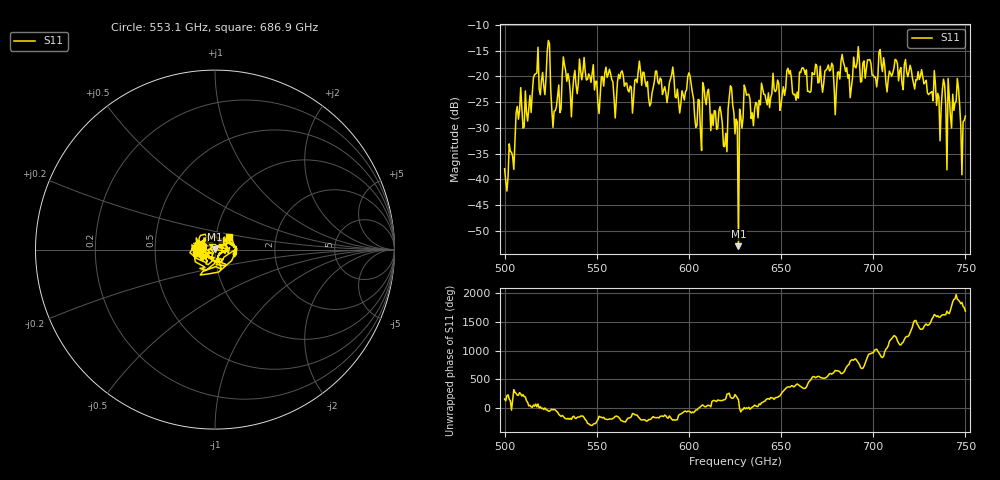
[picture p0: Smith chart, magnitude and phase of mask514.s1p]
!Created with skrf (http://scikit-rf.org).
# GHz S MA R 50.0
!freq magS11 angS11
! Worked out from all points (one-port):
!   401 points, 500 GHz to 750 GHz, reference 50 ohm
!   lowest |S11| = -52.9 dB at 626.9 GHz (marker M1), VSWR 1.00, Z = 49.8 + j0.13 ohm
!   |S11| at or under -10 dB: start of sweep to end of sweep
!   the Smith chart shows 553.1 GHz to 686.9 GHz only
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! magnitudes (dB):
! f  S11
! 500 GHz  -37.9
! 507.5 GHz  -28.3
! 513.1 GHz  -26.1
! 516.9 GHz  -19.5
! 520.6 GHz  -19.2
! 523.8 GHz  -13.0
! 526.9 GHz  -26.7
! 531.2 GHz  -19.7
! 562.5 GHz  -20.4
! 579.4 GHz  -25.2
! 590.6 GHz  -19.7
! 593.8 GHz  -22.5
! 600.6 GHz  -19.9
! 605.6 GHz  -24.6
! 608.8 GHz  -24.3
! 619.4 GHz  -33.6
! 622.5 GHz  -21.8
! 625 GHz  -31.1
! 626.9 GHz  -52.9
! 631.2 GHz  -23.7
! 635 GHz  -29.6
! 656.2 GHz  -23.3
! 680 GHz  -22.7
! 683.8 GHz  -17.2
! 687.5 GHz  -24.1
! 690.6 GHz  -18.4
! 718.8 GHz  -20.1
! 750 GHz  -27.7
